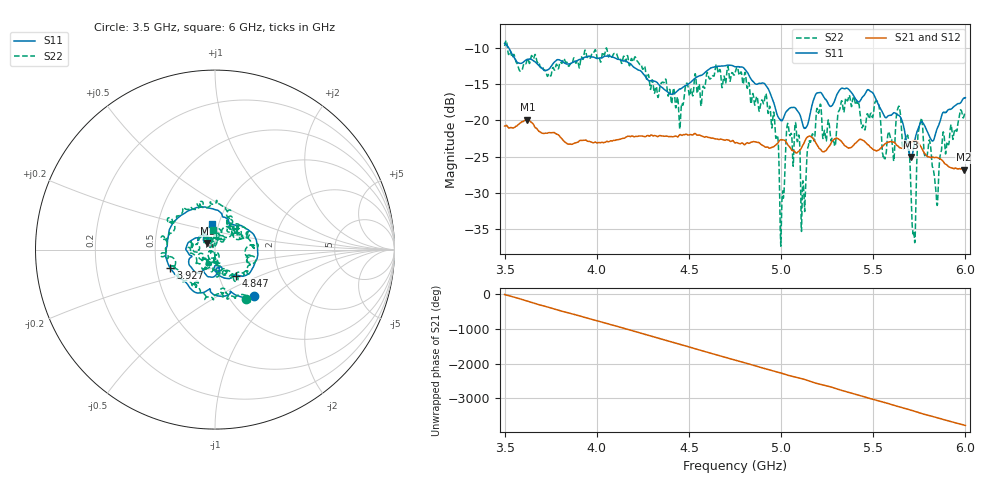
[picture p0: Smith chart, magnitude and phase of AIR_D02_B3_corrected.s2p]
! Created with skrf 1.9.0 (http://scikit-rf.org).
# Hz S RI R 50.0
!freq ReS11 ImS11 ReS21 ImS21 ReS12 ImS12 ReS22 ImS22
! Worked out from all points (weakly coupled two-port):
!   1601 points, 3.5 GHz to 6 GHz, reference 50 ohm
!   highest |S21| = -19.91 dB at 3.623 GHz (marker M1); lowest = -26.8 dB at 5.992 GHz (marker M2)
!   lowest |S11| = -25.0 dB at 5.705 GHz (marker M3), VSWR 1.12, Z = 45.9 + j3.43 ohm
!   |S11| at or under -10 dB: 3.523 GHz to end of sweep
!   |S22| runs from -37.3 to -9.0 dB; largest |S21 - S12| = 0.001
!   S11 on the Smith chart (normalised r, x): 3.5 GHz: 1.30, -0.77; 3.927 GHz: 0.59, -0.13; 4.847 GHz: 1.21, -0.36; 6 GHz: 0.93, +0.27
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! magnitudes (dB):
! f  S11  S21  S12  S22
! 3.5 GHz  -9.4  -20.8  -20.8  -9.8
! 3.623 GHz  -11.6  -19.9  -19.9  -11.5
! 3.917 GHz  -11.5  -22.8  -22.8  -11.2
! 3.927 GHz  -11.4  -22.8  -22.7  -11.6
! 4.334 GHz  -15.0  -22.2  -22.1  -16.7
! 4.75 GHz  -12.6  -23.1  -23.0  -13.5
! 4.847 GHz  -14.6  -23.0  -22.9  -16.3
! 4.969 GHz  -18.3  -23.4  -23.4  -21.7
! 5.005 GHz  -20.0  -22.7  -22.7  -31.0
! 5.039 GHz  -18.5  -23.4  -23.4  -20.6
! 5.089 GHz  -18.7  -24.4  -24.4  -22.9
! 5.12 GHz  -20.8  -23.3  -23.3  -28.6
! 5.167 GHz  -18.0  -22.3  -22.3  -22.0
! 5.362 GHz  -15.6  -23.8  -23.7  -17.2
! 5.584 GHz  -19.3  -23.0  -22.9  -21.5
! 5.639 GHz  -19.3  -23.7  -23.6  -18.0
! 5.705 GHz  -25.0  -23.1  -23.0  -29.8
! 5.72 GHz  -23.6  -22.8  -22.8  -35.4
! 5.756 GHz  -20.3  -23.5  -23.5  -20.2
! 5.842 GHz  -21.5  -25.1  -25.1  -30.4
! 5.992 GHz  -16.9  -26.8  -26.7  -19.4
! 6 GHz  -16.9  -26.8  -26.7  -19.3
